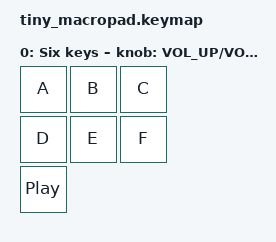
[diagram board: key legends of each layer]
#include <behaviors.dtsi>
#include <dt-bindings/zmk/keys.h>

/ {
    keymap {
        compatible = "zmk,keymap";

        default_layer {
            display-name = "Six keys";
            // Six buttons in reading order:
            // row 1: A B C, row 2: D E F;
            // last binding is the built-in EC11 push switch.
            bindings = <
                &kp A &kp B &kp C
                &kp D &kp E &kp F
                &kp C_PP
            >;
            // Rotation: volume up / volume down.
            sensor-bindings = <&inc_dec_kp C_VOL_UP C_VOL_DN>;
        };
    };
};
